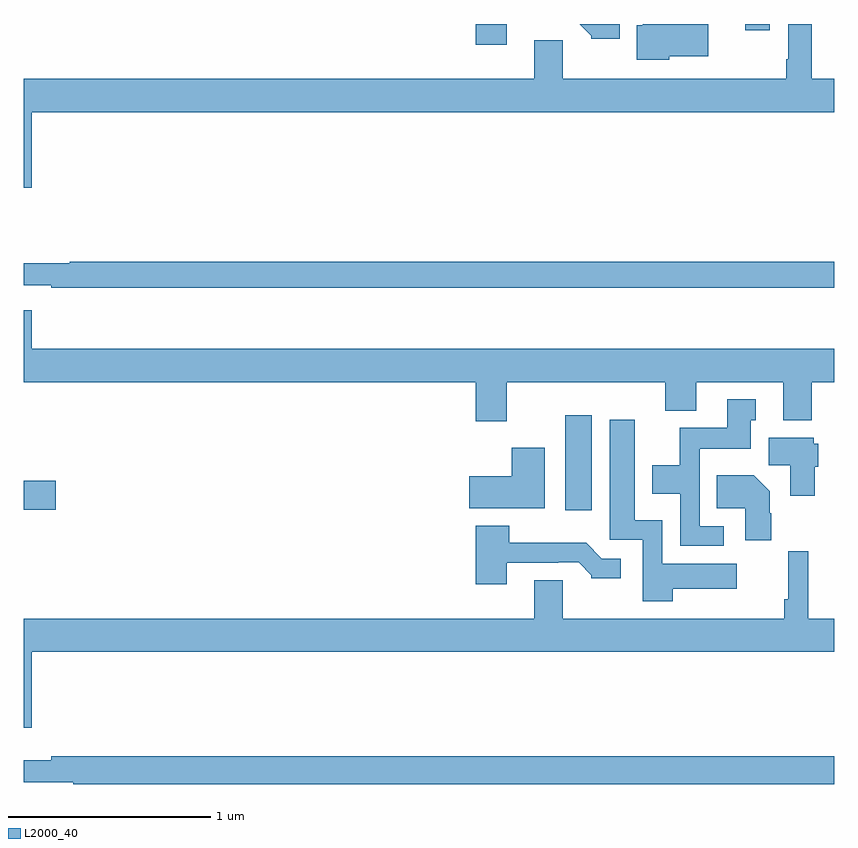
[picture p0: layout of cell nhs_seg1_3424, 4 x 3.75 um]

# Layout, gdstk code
import gdstk
lib = gdstk.Library(unit=1e-6, precision=1e-09)
def R(c, l, rs):  # rectangles x0, y0, x1, y1
    for r in rs: c.add(gdstk.rectangle(r[:2], r[2:], *l))
def P(c, l, *ps):  # polygons
    for p in ps: c.add(gdstk.Polygon(p, *l))
L2000_40 = (2000, 40)

nhs_seg1_3424 = lib.new_cell('nhs_seg1_3424')
R(nhs_seg1_3424, L2000_40, [(299.672,517.8,299.803,518.269), (297,517.802,297.157,517.944), (299.231,520.097,299.383,520.199), (300.56,520.167,300.682,520.199)])
P(nhs_seg1_3424, L2000_40, [(300.186,520.04),(300.379,520.04),(300.379,520.198),(300.15,520.198),(300.15,520.199),(300.054,520.199),(300.054,520.194),(300.026,520.194),(300.026,520.022),(300.186,520.022)],
  [(297.04,519.764),(301,519.764),(301,519.928),(300.89,519.928),(300.89,520.199),(300.774,520.199),(300.774,520.024),(300.762,520.024),(300.762,519.928),(299.659,519.928),(299.659,520.118),(299.519,520.118),(299.519,519.928),(297,519.928),(297,519.39),(297.04,519.39)],
  [(299.941,520.199),(299.745,520.199),(299.802,520.142),(299.802,520.127),(299.941,520.127)],
  [(301,519.026),(297.227,519.026),(297.227,519.019),(297,519.019),(297,518.91),(297.136,518.91),(297.136,518.898),(301,518.898)],
  [(299.383,518.432),(300.167,518.432),(300.167,518.291),(300.319,518.291),(300.319,518.432),(300.749,518.432),(300.749,518.243),(300.889,518.243),(300.889,518.432),(301,518.432),(301,518.596),(297.04,518.596),(297.04,518.785),(297,518.785),(297,518.432),(299.231,518.432),(299.231,518.238),(299.383,518.238)],
  [(300.454,517.719),(300.336,517.719),(300.336,518.102),(300.589,518.102),(300.589,518.244),(300.613,518.244),(300.613,518.347),(300.473,518.347),(300.473,518.206),(300.238,518.206),(300.238,518.02),(300.101,518.02),(300.101,517.88),(300.24,517.88),(300.24,517.623),(300.454,517.623)],
  [(300.203,517.412),(300.52,517.412),(300.52,517.534),(300.15,517.534),(300.15,517.75),(300.016,517.75),(300.016,518.245),(299.891,518.245),(299.891,517.653),(300.054,517.653),(300.054,517.35),(300.203,517.35)],
  [(300.904,518.013),(300.922,518.013),(300.922,518.127),(300.9,518.127),(300.9,518.158),(300.677,518.158),(300.677,518.02),(300.782,518.02),(300.782,517.871),(300.904,517.871)],
  [(299.572,518.107),(299.408,518.107),(299.408,517.966),(299.199,517.966),(299.199,517.808),(299.572,517.808)],
  [(300.69,517.784),(300.682,517.784),(300.682,517.894),(300.604,517.972),(300.421,517.972),(300.421,517.808),(300.56,517.808),(300.56,517.65),(300.69,517.65)],
  [(299.383,517.539),(299.639,517.539),(299.639,517.542),(299.738,517.542),(299.802,517.478),(299.802,517.463),(299.947,517.463),(299.947,517.56),(299.853,517.56),(299.775,517.639),(299.396,517.639),(299.396,517.723),(299.231,517.723),(299.231,517.434),(299.383,517.434)],
  [(297.04,517.1),(301,517.1),(301,517.264),(300.871,517.264),(300.871,517.597),(300.772,517.597),(300.772,517.36),(300.754,517.36),(300.754,517.264),(299.659,517.264),(299.659,517.454),(299.519,517.454),(299.519,517.264),(297,517.264),(297,516.726),(297.04,516.726)],
  [(301,516.584),(297.136,516.584),(297.136,516.565),(297,516.565),(297,516.456),(297.245,516.456),(297.245,516.448),(301,516.448)])

lib.write_gds('nhs_seg1_3424.gds')
